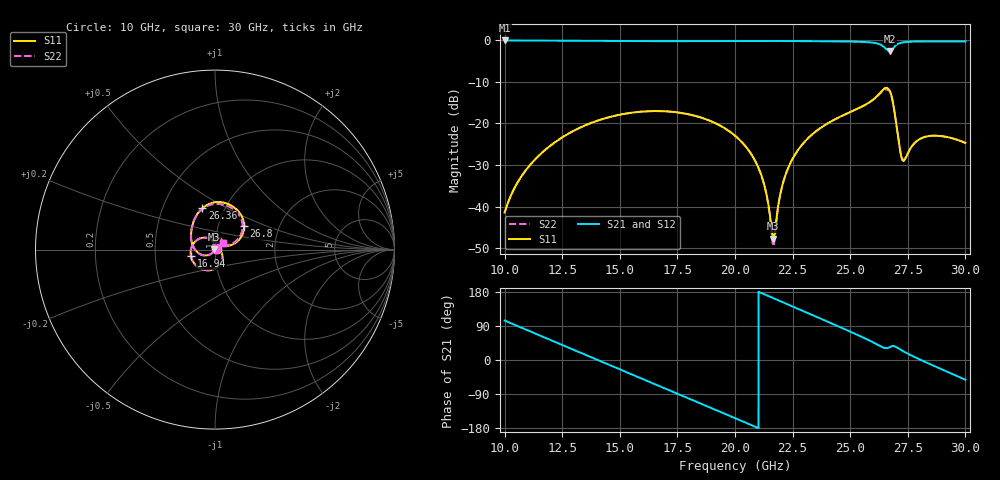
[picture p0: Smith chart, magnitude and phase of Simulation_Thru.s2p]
! TOUCHSTONE file generated by CST MICROWAVE STUDIO
! Date and time: Wed Oct 17 00:33:40 2018
! Project name: 16 - Thru.cst
! Parameters = {Copper_W=0.017; Ex=0.6; G=0.15; GCPW_U_1_End=1; GCPW_U_2_End=3.76702; GCPW_U_3_End=6.53404; GCPW_Ucentre=6.53404; GCPW_VCentre=7.5; GCPW_V_1_End=7.5; GCPW_V_2_End=0.347476; GCPW_V_3_End=0.347476; GCPW_Via_R=0.15; GCPW_Via_U=6.23404; GCPW_Via_V=7.2; GCPW_Via_Wmax=0.017; GCPW_Via_Wmin=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
! Header version: 2015
! Port assignment regex: !\s*Touchstone port\s*([0-9]+)\s*=\s*CST MWS port\s*([0-9]+)\s*\(\"(.*)\"\)(\s*mode\s*([0-9]+))?.*
! Touchstone port assignment:
! Touchstone port 1 = CST MWS port 1 ("")
! Touchstone port 2 = CST MWS port 2 ("")
# GHz S RI R 50
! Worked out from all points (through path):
!   5001 points, 10 GHz to 30 GHz, reference 50 ohm
!   highest |S21| = -0.16 dB at 10 GHz (marker M1); lowest = -2.7 dB at 26.72 GHz (marker M2)
!   group delay of S21, straight-line fit = 71.7 ps
!   lowest |S11| = -47.7 dB at 21.66 GHz (marker M3), VSWR 1.01, Z = 49.6 + j0.133 ohm
!   |S11| at or under -10 dB: start of sweep to end of sweep
!   |S22| runs from -49.5 to -11.9 dB; largest |S21 - S12| = 3.2e-06
!   S11 on the Smith chart (normalised r, x): 10 GHz: 1.02, +0.00; 16.94 GHz: 0.76, -0.06; 26.36 GHz: 0.79, +0.38; 26.8 GHz: 1.33, +0.36; 30 GHz: 1.09, +0.08
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10  0.00849 0.000694  -0.2381 0.9528  -0.2381 0.9528  0.00834 0.00123
11.556  0.0373 -0.0206  0.4293 0.88  0.4293 0.88  0.0376 -0.0201
13.336  0.0255 -0.0866  0.9247 0.3034  0.9247 0.3034  0.026 -0.0864
14.904  -0.0497 -0.1148  0.896 -0.3639  0.896 -0.3639  -0.0492 -0.1149
16.668  -0.1297 -0.0528  0.3719 -0.8884  0.3719 -0.8884  -0.1295 -0.053
16.94  -0.1343 -0.0367  0.2612 -0.9268  0.2612 -0.9268  -0.1342 -0.037
18.408  -0.1113 0.0441  -0.3611 -0.8941  -0.3611 -0.8941  -0.1113 0.0439
20  -0.0344 0.0621  -0.864 -0.4353  -0.864 -0.4353  -0.0342 0.0622
21.092  -0.00293 0.0258  -0.9679 0.0303  -0.9679 0.0303  -0.0024 0.0258
21.364  -0.00177 0.0141  -0.9566 0.1502  -0.9566 0.1502  -0.00114 0.014
21.664  -0.00392 0.00134  -0.9267 0.2797  -0.9267 0.2797  -0.00318 0.0011
21.972  -0.00973 -0.0106  -0.8776 0.4071  -0.8776 0.4071  -0.0089 -0.0111
22.244  -0.0176 -0.0196  -0.8196 0.5129  -0.8196 0.5129  -0.0167 -0.0202
23.336  -0.066 -0.031  -0.4697 0.8404  -0.4697 0.8404  -0.0653 -0.0325
24.936  -0.1283 0.0373  0.22 0.9265  0.22 0.9265  -0.1289 0.0348
26.356  -0.0708 0.2301  0.7068 0.4958  0.7068 0.4958  -0.0716 0.2253
26.668  0.113 0.2297  0.6227 0.3974  0.6227 0.3974  0.0964 0.2297
26.72  0.1421 0.1974  0.6066 0.4104  0.6066 0.4104  0.1279 0.2025
26.8  0.1626 0.1311  0.605 0.4488  0.605 0.4488  0.1538 0.1391
27.304  0.0189 0.0298  0.8585 0.3641  0.8585 0.3641  0.0188 0.0312
28.268  0.0104 0.0681  0.9508 -0.0923  0.9508 -0.0923  0.00848 0.0684
30  0.046 0.0355  0.5884 -0.7548  0.5884 -0.7548  0.0445 0.0373
